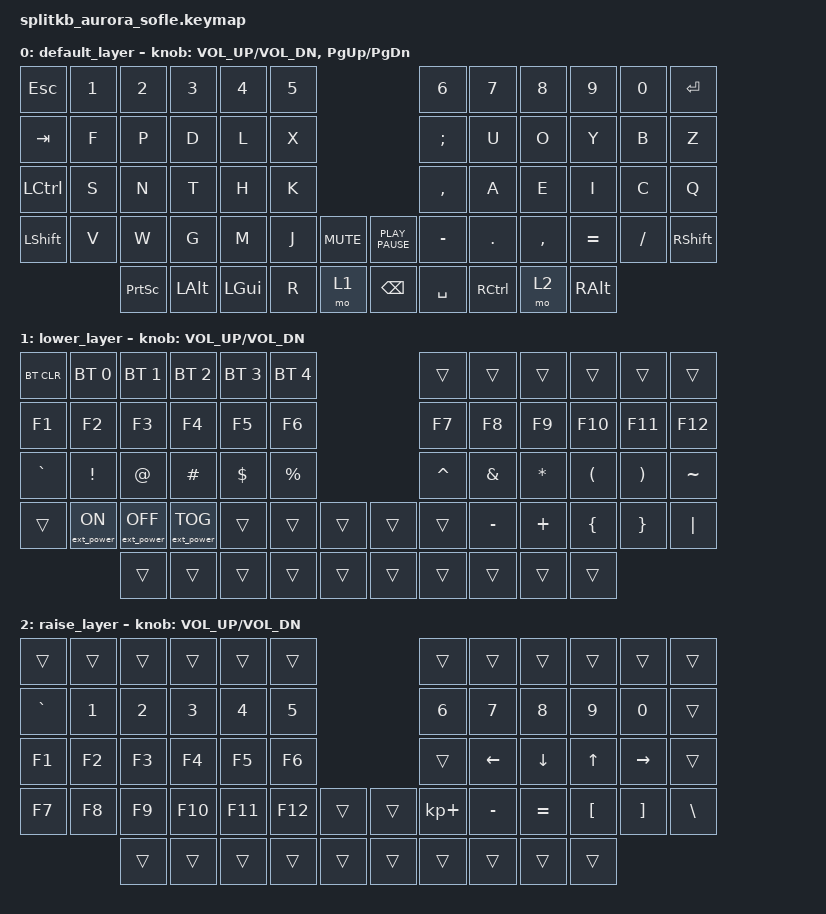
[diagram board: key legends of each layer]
/*
 * Copyright (c) 2023 The ZMK Contributors
 *
 * SPDX-License-Identifier: MIT
 */

#include <behaviors.dtsi>
#include <dt-bindings/zmk/keys.h>
#include <dt-bindings/zmk/bt.h>
#include <dt-bindings/zmk/ext_power.h>

&led_strip {
    chain-length = <35>;
    // chain-length = <35>; // Uncomment if using both per-key and underglow LEDs
    // chain-length = <29>; // Uncomment if using only per-key LEDs.
};

/ {
    keymap {
        compatible = "zmk,keymap";

        default_layer {
// ------------------------------------------------------------------------------------------------------------
// |  ESC  |  1  |  2  |  3   |  4   |  5   |                   |  6   |  7    |  8    |  9   |   0   |   `   |
// |  TAB  |  Q  |  W  |  E   |  R   |  T   |                   |  Y   |  U    |  I    |  O   |   P   |   -   |
// |  CTRL |  A  |  S  |  D   |  F   |  G   |                   |  H   |  J    |  K    |  L   |   ;   |   '   |
// | SHIFT |  Z  |  X  |  C   |  V   |  B   |   "["  |  |  "]"  |  N   |  M    |  ,    |  .   |   /   | SHIFT |
//               |CTRL | ALT  | GUI  | LOWER|  SPACE |  | ENTER | RAISE| BSPC  | GUI   | RALT |
            bindings = <
&kp ESC    &kp N1  &kp N2           &kp N3    &kp N4    &kp N5                                  &kp N6         &kp N7             &kp N8     &kp N9     &kp N0    &kp ENTER
&kp TAB    &kp F   &kp P            &kp D     &kp L     &kp X                                   &kp SEMICOLON  &kp U              &kp O      &kp Y      &kp B     &kp Z
&kp LCTRL  &kp S   &kp N            &kp T     &kp H     &kp K                                   &kp COMMA      &kp A              &kp E      &kp I      &kp C     &kp Q
&kp LSHFT  &kp V   &kp W            &kp G     &kp M     &kp J   &kp K_MUTE    &kp K_PLAY_PAUSE  &kp MINUS      &kp PERIOD         &kp COMMA  &kp EQUAL  &kp FSLH  &kp RSHFT
                   &kp PRINTSCREEN  &kp LALT  &kp LGUI  &kp R   &mo 1         &kp BACKSPACE     &kp SPACE      &kp RIGHT_CONTROL  &mo 2      &kp RALT
            >;

            sensor-bindings =
                <&inc_dec_kp C_VOL_UP C_VOL_DN>,
                <&inc_dec_kp PAGE_UP PAGE_DOWN>;
        };


        lower_layer {
// ------------------------------------------------------------------------------------------------------------
// | BTCLR | BT1 | BT2 |  BT3 |  BT4 |  BT5 |                   |      |       |       |      |       |       |
// |  F1   |  F2 |  F3 |  F4  |  F5  |  F6  |                   |  F7  |  F8   |  F9   |  F10 |  F11  |  F12  |
// |   `   |  !  |  @  |  #   |  $   |  %   |                   |  ^   |  &    |  *    |  (   |   )   |   ~   |
// |       |     |     |      |      |      |        |  |       |      |  _    |  +    |  {   |   }   |  "|"  |
//               |     |      |      |      |        |  |       |      |       |       |      |
            bindings = <
&bt BT_CLR &bt BT_SEL 0     &bt BT_SEL 1      &bt BT_SEL 2      &bt BT_SEL 3 &bt BT_SEL 4                 &trans    &trans    &trans    &trans    &trans    &trans
&kp F1     &kp F2           &kp F3            &kp F4            &kp F5       &kp F6                       &kp F7    &kp F8    &kp F9    &kp F10   &kp F11   &kp F12
&kp GRAVE  &kp EXCL         &kp AT            &kp HASH          &kp DOLLAR   &kp PRCNT                    &kp CARET &kp AMPS  &kp STAR  &kp LPAR  &kp RPAR  &kp TILDE
&trans     &ext_power EP_ON &ext_power EP_OFF &ext_power EP_TOG &trans       &trans    &trans   &trans    &trans    &kp MINUS &kp PLUS  &kp LBRC  &kp RBRC  &kp PIPE
                            &trans            &trans            &trans       &trans    &trans   &trans    &trans    &trans    &trans    &trans
            >;

            sensor-bindings = <&inc_dec_kp C_VOL_UP C_VOL_DN>;
        };

        raise_layer {
// ------------------------------------------------------------------------------------------------------------
// |       |     |     |      |      |      |                   |      |       |       |      |       |       |
// |   `   |  1  |  2  |  3   |  4   |  5   |                   |  6   |   7   |   8   |  9   |   0   |       |
// |   F1  |  F2 |  F3 |  F4  |  F5  |  F6  |                   |      |   <-  |   v   |  ^   |  ->   |       |
// |   F7  |  F8 |  F9 |  F10 |  F11 |  F12 |        |  |       |  +   |   -   |   =   |  [   |   ]   |   \   |
//               |     |      |      |      |        |  |       |      |       |       |      |
            bindings = <
&trans    &trans &trans &trans  &trans  &trans                       &trans      &trans    &trans    &trans   &trans    &trans
&kp GRAVE &kp N1 &kp N2 &kp N3  &kp N4  &kp N5                       &kp N6      &kp N7    &kp N8    &kp N9   &kp N0    &trans
&kp F1    &kp F2 &kp F3 &kp F4  &kp F5  &kp F6                       &trans      &kp LEFT  &kp DOWN  &kp UP   &kp RIGHT &trans
&kp F7    &kp F8 &kp F9 &kp F10 &kp F11 &kp F12   &trans   &trans    &kp KP_PLUS &kp MINUS &kp EQUAL &kp LBKT &kp RBKT  &kp BSLH
                 &trans &trans  &trans  &trans    &trans   &trans    &trans      &trans    &trans    &trans
            >;

            sensor-bindings = <&inc_dec_kp C_VOL_UP C_VOL_DN>;
        };
    };
};
